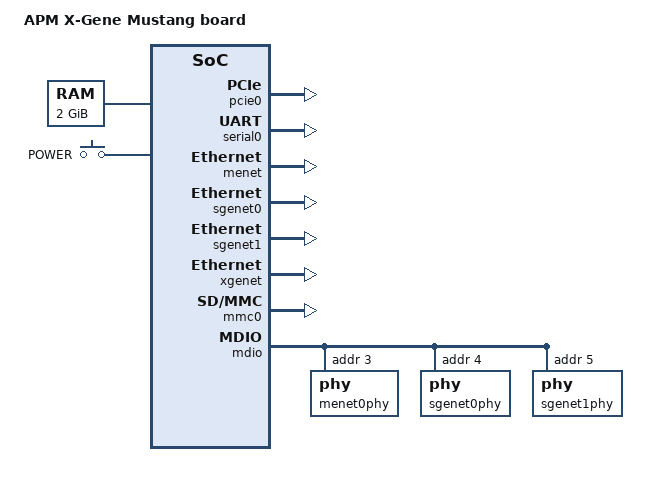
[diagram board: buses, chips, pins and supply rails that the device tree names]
// SPDX-License-Identifier: GPL-2.0-or-later
/*
 * dts file for AppliedMicro (APM) Mustang Board
 *
 * Copyright (C) 2013, Applied Micro Circuits Corporation
 */

/dts-v1/;

/include/ "apm-storm.dtsi"

/ {
	model = "APM X-Gene Mustang board";
	compatible = "apm,mustang", "apm,xgene-storm";

	chosen { };

	memory@100000000 {
		device_type = "memory";
		reg = < 0x1 0x00000000 0x0 0x80000000 >; /* Updated by bootloader */
	};

	gpio-keys {
		compatible = "gpio-keys";
		button {
			label = "POWER";
			linux,code = <116>;
			linux,input-type = <0x1>;
			interrupt-parent = <&sbgpio>;
			interrupts = <0x5 0x1>;
		};
	};

	poweroff_mbox: poweroff_mbox@10548000 {
		compatible = "syscon";
		reg = <0x0 0x10548000 0x0 0x30>;
	};

	poweroff: poweroff@10548010 {
		compatible = "syscon-poweroff";
		regmap = <&poweroff_mbox>;
		offset = <0x10>;
		mask = <0x1>;
	};
};

&pcie0clk {
	status = "okay";
};

&pcie0 {
	status = "okay";
};

&serial0 {
	status = "okay";
};

&menet {
	status = "okay";
};

&sgenet0 {
	status = "okay";
};

&sgenet1 {
	status = "okay";
};

&xgenet {
	status = "okay";
	rxlos-gpios = <&sbgpio 12 1>;
};

&mmc0 {
	status = "okay";
};

&mdio {
	menet0phy: phy@3 {
		reg = <0x3>;
	};
	sgenet0phy: phy@4 {
		reg = <0x4>;
	};
	sgenet1phy: phy@5 {
		reg = <0x5>;
	};
};
